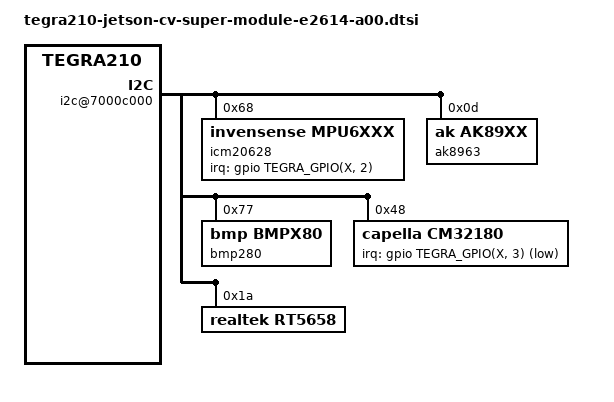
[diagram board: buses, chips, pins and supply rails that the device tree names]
/*
 * Jetson-CV Super Module peripherals
 *
 * Copyright (c) 2015, NVIDIA CORPORATION.  All rights reserved.
 *
 * This program is free software; you can redistribute it and/or modify
 * it under the terms of the GNU General Public License as published by
 * the Free Software Foundation; version 2 of the License.
 *
 * This program is distributed in the hope that it will be useful, but WITHOUT
 * ANY WARRANTY; without even the implied warranty of MERCHANTABILITY or
 * FITNESS FOR A PARTICULAR PURPOSE.  See the GNU General Public License for
 * more details.
 *
 */

/ {

        i2c@7000c000 {
                icm20628@68 {
                        compatible = "invensense,mpu6xxx";
                        reg = <0x68>;
                        interrupt-parent = <&gpio>;
                        interrupts = <TEGRA_GPIO(X, 2) 0x01>;
                        accelerometer_matrix = [00 ff 00 01 00 00 00 00 01];
                        gyroscope_matrix = [00 ff 00 01 00 00 00 00 01];
                };

                ak8963@0d {
                        compatible = "ak,ak89xx";
                        reg = <0x0d>;
                        magnetic_field_matrix = [00 ff 00 01 00 00 00 00 01];
                };

                bmp280@77 {
                        compatible = "bmp,bmpX80";
                        reg = <0x77>;
                };

                cm32180@48 {
                        compatible = "capella,cm32180";
                        reg = <0x48>;
                        gpio_irq = <&gpio TEGRA_GPIO(X, 3) GPIO_ACTIVE_LOW>;
                        light_uncalibrated_lo = <1>;
                        light_calibrated_lo = <150>;
                        light_uncalibrated_hi = <95000>;
                        light_calibrated_hi = <1750000>;
                };

                iqs263@44 {
			status = "disabled";
                };

		rt5658: rt5659.0-001a@1a {
			compatible = "realtek,rt5658";
			reg = <0x1a>;
                };
	};

	spi@7000d600 {
		status = "disabled";
	};

	/* extended sound node for superIO */
	sound {
		nvidia,dai-link-1 {
			codec-dai = <&rt5658>;
		};
	};
};
